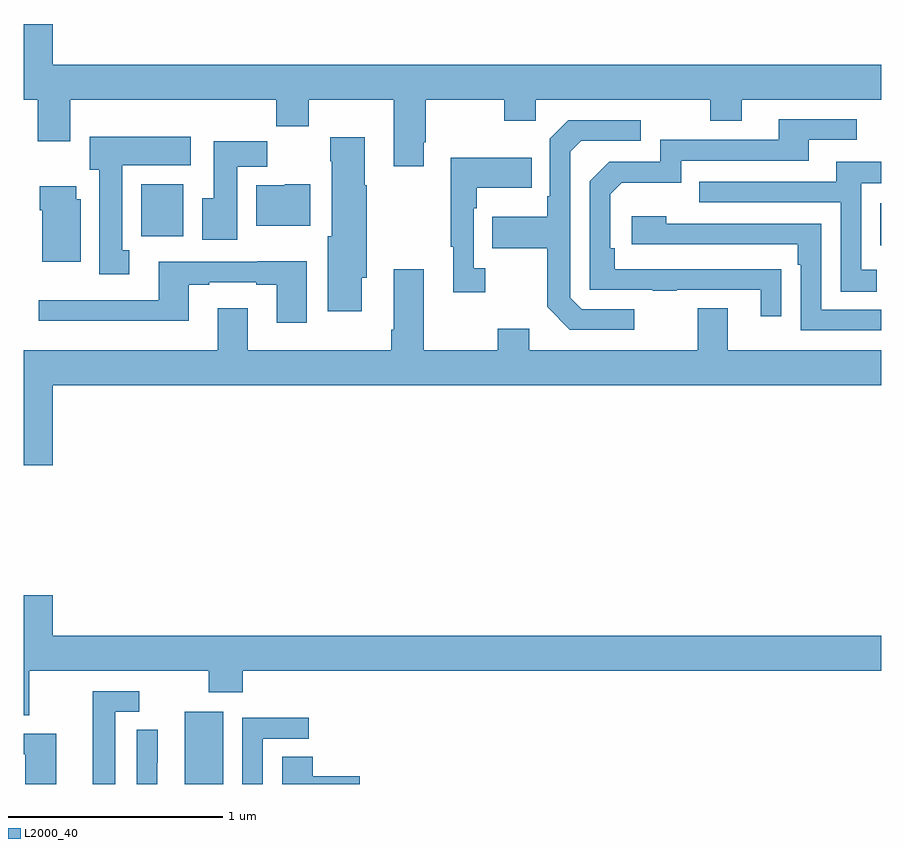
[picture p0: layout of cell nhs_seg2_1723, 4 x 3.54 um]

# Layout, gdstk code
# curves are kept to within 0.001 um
import gdstk
lib = gdstk.Library(unit=1e-6, precision=1e-09)
def R(c, l, rs):  # rectangles x0, y0, x1, y1
    for r in rs: c.add(gdstk.rectangle(r[:2], r[2:], *l))
def P(c, l, *ps):  # polygons
    for p in ps: c.add(gdstk.Polygon(p, *l))
L2000_40 = (2000, 40)

nhs_seg2_1723 = lib.new_cell('nhs_seg2_1723')
R(nhs_seg2_1723, L2000_40, [(201.752,621.8,201.931,622.138), (201.548,624.356,201.745,624.598)])
P(nhs_seg2_1723, L2000_40, [(202.867,624.793),(202.875,624.793),(202.875,624.992),(203.242,624.992),(203.242,624.893),(203.388,624.893),(203.388,624.992),(204.202,624.992),(204.202,624.893),(204.349,624.893),(204.349,624.992),(205,624.992),(205,625.156),(201.136,625.156),(201.136,625.345),(201,625.345),(201,624.992),(201.065,624.992),(201.065,624.798),(201.217,624.798),(201.217,624.992),(202.177,624.992),(202.177,624.868),(202.329,624.868),(202.329,624.992),(202.727,624.992),(202.727,624.681),(202.867,624.681)],
  [(204.533,624.2),(203.756,624.201),(203.756,624.298),(203.736,624.298),(203.736,624.552),(203.789,624.605),(204.066,624.605),(204.066,624.708),(204.661,624.708),(204.661,624.804),(204.886,624.804),(204.886,624.9),(204.521,624.9),(204.521,624.804),(203.97,624.804),(203.97,624.702),(203.73,624.702),(203.64,624.612),(203.64,624.105),(203.935,624.105),(203.935,624.1),(204.047,624.1),(204.047,624.105),(204.437,624.105),(204.437,623.982),(204.533,623.982)],
  [(203.848,624.015),(203.604,624.015),(203.55,624.069),(203.55,624.75),(203.601,624.801),(203.878,624.801),(203.878,624.897),(203.541,624.897),(203.454,624.81),(203.454,624.541),(203.442,624.541),(203.442,624.445),(203.185,624.445),(203.185,624.298),(203.442,624.298),(203.442,624.025),(203.547,623.919),(203.848,623.919)],
  [(201.493,624.29),(201.46,624.29),(201.46,624.686),(201.778,624.686),(201.778,624.82),(201.308,624.82),(201.308,624.666),(201.353,624.666),(201.353,624.177),(201.493,624.177)],
  [(202.576,624.162),(202.599,624.162),(202.599,624.593),(202.591,624.593),(202.591,624.817),(202.429,624.817),(202.429,624.704),(202.436,624.704),(202.436,624.354),(202.418,624.354),(202.418,624.006),(202.576,624.006)],
  [(201.997,624.68),(202.136,624.68),(202.136,624.799),(201.887,624.799),(201.887,624.532),(201.833,624.532),(201.833,624.339),(201.997,624.339)],
  [(203.152,624.206),(203.1,624.206),(203.1,624.485),(203.113,624.485),(203.113,624.581),(203.369,624.581),(203.369,624.721),(202.992,624.721),(202.992,624.305),(203.003,624.305),(203.003,624.093),(203.152,624.093)],
  [(204.979,624.198),(204.906,624.198),(204.906,624.603),(205,624.603),(205,624.703),(204.791,624.703),(204.791,624.609),(204.151,624.609),(204.151,624.513),(204.81,624.513),(204.81,624.097),(204.979,624.097)],
  [(202.336,624.598),(202.218,624.598),(202.218,624.592),(202.085,624.592),(202.085,624.404),(202.336,624.404)],
  [(201.265,624.528),(201.244,624.528),(201.244,624.589),(201.074,624.589),(201.074,624.476),(201.086,624.476),(201.086,624.236),(201.265,624.236)],
  [(205,624.508),(204.996,624.508),(204.996,624.314),(205,624.31)],
  [(205,624.012),(204.72,624.012),(204.72,624.414),(203.996,624.414),(203.996,624.448),(203.835,624.448),(203.835,624.318),(204.611,624.318),(204.611,624.221),(204.624,624.221),(204.624,623.916),(205,623.916)],
  [(202.321,624.238),(202.089,624.238),(202.089,624.237),(201.629,624.237),(201.629,624.057),(201.069,624.057),(201.069,623.96),(201.769,623.96),(201.769,624.129),(201.865,624.129),(201.865,624.141),(202.085,624.141),(202.085,624.129),(202.181,624.129),(202.181,623.952),(202.321,623.952)],
  [(201.136,623.66),(205,623.66),(205,623.824),(204.283,623.824),(204.283,624.019),(204.143,624.019),(204.143,623.824),(203.359,623.824),(203.359,623.923),(203.212,623.923),(203.212,623.824),(202.867,623.824),(202.867,624.202),(202.727,624.202),(202.727,623.92),(202.715,623.92),(202.715,623.824),(202.045,623.824),(202.045,624.019),(201.905,624.019),(201.905,623.824),(201,623.824),(201,623.286),(201.136,623.286)],
  [(201.025,622.328),(201.862,622.328),(201.862,622.229),(202.022,622.229),(202.022,622.328),(205,622.328),(205,622.492),(201.136,622.492),(201.136,622.681),(201,622.681),(201,622.12),(201.025,622.12)],
  [(201.427,622.137),(201.538,622.137),(201.538,622.233),(201.323,622.233),(201.323,621.8),(201.427,621.8)],
  [(202.116,622.011),(202.33,622.011),(202.33,622.11),(202.02,622.11),(202.02,621.8),(202.116,621.8)],
  [(201.623,621.898),(201.624,621.898),(201.624,622.052),(201.528,622.052),(201.528,621.8),(201.623,621.8)],
  [(201.151,622.035),(201,622.035),(201,621.939),(201.006,621.939),(201.006,621.8),(201.151,621.8)],
  [(202.567,621.836),(202.349,621.836),(202.349,621.926),(202.205,621.926),(202.205,621.8),(202.567,621.8)])

lib.write_gds('nhs_seg2_1723.gds')
